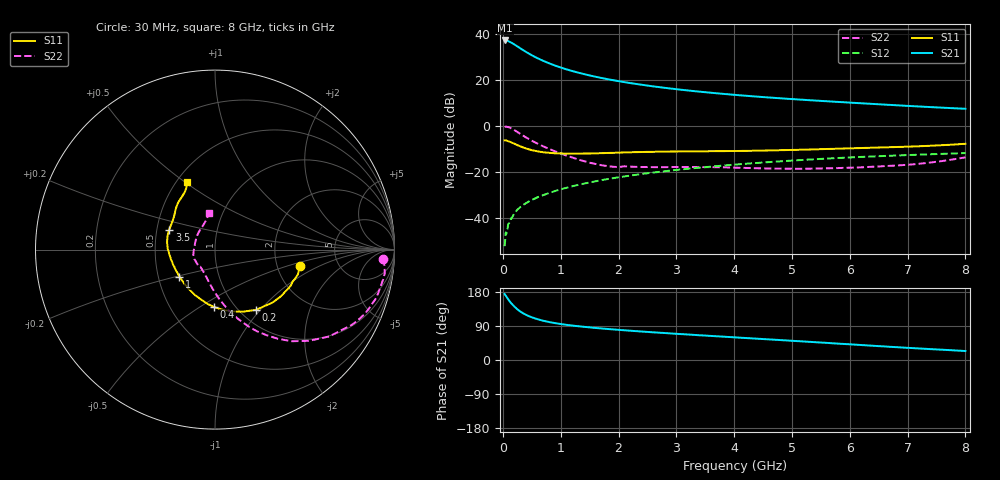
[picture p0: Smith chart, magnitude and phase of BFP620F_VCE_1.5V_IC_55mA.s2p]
! Infineon Technologies  Discrete & RF Semiconductors
! BFP620F
! VCE =  1.5 V,  IC =  55 mA
! Common Emitter S-Parameters:  Dec 2014
# GHz  S  MA  R  50
!  f  S11  S21  S12  S22
! GHz  MAG  ANG  MAG  ANG  MAG  ANG  MAG  ANG
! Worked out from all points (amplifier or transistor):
!   95 points, 30 MHz to 8 GHz, reference 50 ohm
!   highest |S21| = 37.1 dB at 40 MHz (marker M1)
!   |S21| within 3 dB of that: start of sweep to 276.3 MHz
!   unconditionally stable (mu >= 1): 1.839 GHz to end of sweep
!   at 300 MHz: K = 0.51, MSG = 34.6 dB, |S12| = -35.4 dB
!   at 3.3 GHz: K = 1.03, MAG = 15.7 dB, |S12| = -18.5 dB
!   at 8 GHz: K = 1.05, MAG = 8.2 dB, |S12| = -11.9 dB
!   S11 on the Smith chart (normalised r, x): 30 MHz: 2.70, -0.63; 200 MHz: 1.18, -0.95; 400 MHz: 0.81, -0.58; 1 GHz: 0.64, -0.21; 3.5 GHz: 0.58, +0.14; 8 GHz: 0.57, +0.51
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0.03  0.4828 -10.7  71.32 174.3  0.0024 100.8  0.939 -3.1
0.04  0.4817 -13.7  71.44 171.9  0.0032 87.4  0.949 -5.6
0.06  0.4765 -19.2  71.12 167.5  0.0044 94.8  0.9519 -10.0
0.08  0.4675 -25.1  70.11 162.8  0.0057 80.4  0.9413 -14.9
0.12  0.4475 -36.6  66.5 154.4  0.0082 76.7  0.9072 -23.3
0.15  0.4309 -44.2  63.68 148.9  0.0096 78.5  0.8681 -29.0
0.2  0.4058 -55.9  58.28 140.8  0.0125 74.8  0.799 -37.3
0.25  0.3788 -66.0  53.15 133.9  0.0149 72.4  0.7303 -44.1
0.3  0.3566 -75.0  48.36 128.1  0.0169 71.0  0.6664 -50.0
0.4  0.32 -90.8  40.27 119.2  0.0207 68.9  0.5561 -59.0
0.5  0.2934 -103.1  34.07 112.7  0.0242 68.8  0.473 -66.0
0.6  0.2769 -113.9  29.34 107.6  0.0278 68.6  0.4069 -71.6
0.8  0.2574 -130.3  22.73 100.2  0.0344 68.5  0.3125 -80.7
1  0.2493 -142.9  18.43 95.0  0.0413 68.7  0.2488 -88.6
1.4  0.2483 -160.8  13.29 87.6  0.0549 67.9  0.1701 -104.4
1.9  0.2569 -175.8  9.806 80.8  0.0719 66.3  0.1282 -126.9
2.7  0.2721 168.2  6.914 72.1  0.0989 61.9  0.1254 -150.1
3.5  0.2784 156.3  5.351 64.5  0.1256 57.0  0.1257 -162.4
4.1  0.2825 148.5  4.587 58.9  0.1453 53.1  0.1215 -170.8
5.4  0.3065 136.4  3.527 47.0  0.1866 43.8  0.117 161.8
6.7  0.3409 124.7  2.832 34.8  0.2221 33.9  0.1341 131.5
8  0.4046 112.4  2.333 23.7  0.2538 24.4  0.2045 99.1
